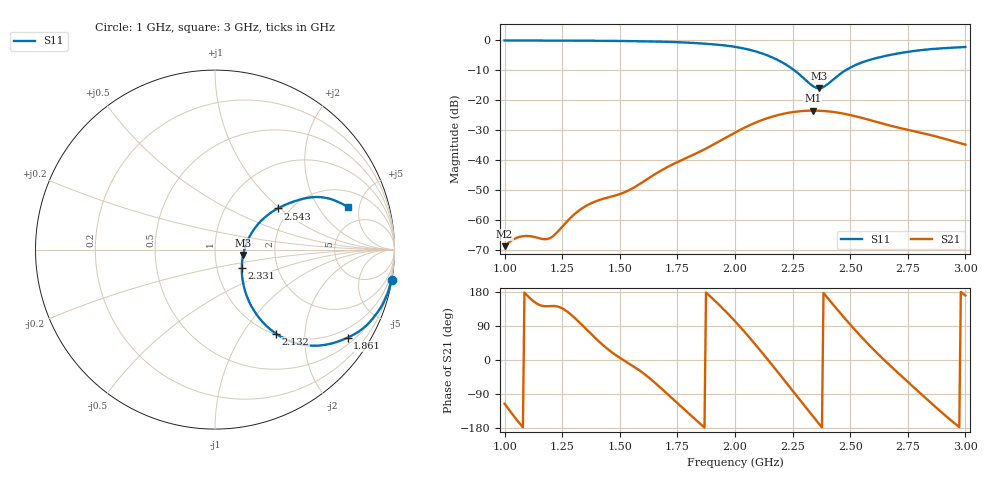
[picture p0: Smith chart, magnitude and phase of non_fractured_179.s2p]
! TOUCHSTONE file generated by CST MICROWAVE STUDIO
! Date and time: Sat Mar  8 13:55:15 2025
! Project name: non_fractured.cst
! Parameters = {B=2.5; D=160; F=10; Feed=2.85625; L=100; M=20; R=0.384908; S=1; Theta=180; length=57.125; wave=114.25}
! Header version: 2024
! Port assignment regex: !\s*Touchstone port\s*([0-9]+)\s*=\s*(CST MWS port|CST DES external port|CST DES block port)\s*(.+)\s* \(\"(.*)\"\)(\s*mode\s*([0-9]+))?.*
! Touchstone port assignment:
! Touchstone port 1 = CST MWS port 1 ("")
! Touchstone port 2 = CST MWS port 2 ("")
# GHz S DB R 50
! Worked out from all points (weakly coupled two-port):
!   303 points, 1 GHz to 3 GHz, reference 50 ohm
!   highest |S21| = -23.40 dB at 2.338 GHz (marker M1); lowest = -68.6 dB at 1 GHz (marker M2)
!   lowest |S11| = -15.9 dB at 2.364 GHz (marker M3), VSWR 1.38, Z = 68.4 - j4.23 ohm
!   |S11| at or under -10 dB: 2.258 GHz to 2.479 GHz (221.2 MHz wide, 9.34 % of centre)
!   S12 and S22 are empty: the file has one direction only
!   S11 on the Smith chart (normalised r, x): 1 GHz: 0, -12; 1.861 GHz: 0.69, -3.17; 2.132 GHz: 1.02, -1.43; 2.331 GHz: 1.32, -0.28; 2.543 GHz: 1.74, +0.96; 3 GHz: 3.20, +3.83
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1  -0.02 -9.8  -68.59 -115.3  -200.00 0.0  -200.00 0.0
1.03311  -0.02 -10.3  -66.54 -142.6  -200.00 0.0  -200.00 0.0
1.07285  -0.03 -10.9  -65.35 -172.9  -200.00 0.0  -200.00 0.0
1.17219  -0.04 -12.3  -66.26 142.0  -200.00 0.0  -200.00 0.0
1.19868  -0.05 -12.8  -65.83 142.3  -200.00 0.0  -200.00 0.0
1.33775  -0.09 -15.4  -55.91 91.4  -200.00 0.0  -200.00 0.0
1.39735  -0.12 -16.6  -53.58 55.8  -200.00 0.0  -200.00 0.0
1.5298  -0.21 -20.0  -50.31 -5.4  -200.00 0.0  -200.00 0.0
1.66887  -0.40 -24.5  -43.84 -68.9  -200.00 0.0  -200.00 0.0
1.86093  -1.05 -33.6  -36.56 -174.8  -200.00 0.0  -200.00 0.0
2  -2.15 -43.3  -30.71 102.4  -200.00 0.0  -200.00 0.0
2.13245  -4.76 -54.0  -26.13 8.4  -200.00 0.0  -200.00 0.0
2.23179  -8.58 -57.2  -24.13 -67.0  -200.00 0.0  -200.00 0.0
2.33113  -14.84 -34.6  -23.41 -143.1  -200.00 0.0  -200.00 0.0
2.33775  -15.21 -30.5  -23.40 -148.1  -200.00 0.0  -200.00 0.0
2.36424  -15.95 -10.9  -23.44 -168.1  -200.00 0.0  -200.00 0.0
2.39073  -15.21 8.3  -23.56 172.1  -200.00 0.0  -200.00 0.0
2.45695  -11.15 30.5  -24.21 123.7  -200.00 0.0  -200.00 0.0
2.54305  -7.57 33.2  -25.67 64.5  -200.00 0.0  -200.00 0.0
2.66887  -4.92 30.0  -28.32 -12.3  -200.00 0.0  -200.00 0.0
2.83444  -3.02 23.4  -31.28 -104.3  -200.00 0.0  -200.00 0.0
3  -2.19 17.8  -34.73 170.3  -200.00 0.0  -200.00 0.0
